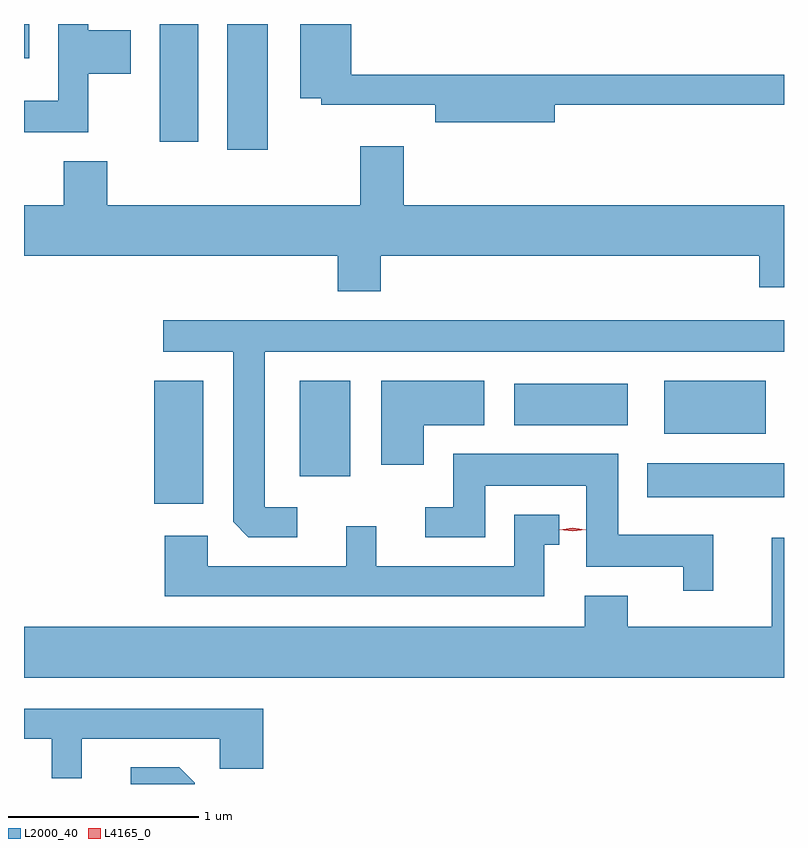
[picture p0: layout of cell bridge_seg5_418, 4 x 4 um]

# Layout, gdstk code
import gdstk
lib = gdstk.Library(unit=1e-6, precision=1e-09)
def R(c, l, rs):  # rectangles x0, y0, x1, y1
    for r in rs: c.add(gdstk.rectangle(r[:2], r[2:], *l))
def P(c, l, *ps):  # polygons
    for p in ps: c.add(gdstk.Polygon(p, *l))
L2000_40 = (2000, 40)
L4165_0 = (4165, 0)

bridge_seg5_418 = lib.new_cell('bridge_seg5_418')
R(bridge_seg5_418, L2000_40, [(371.036,1506.551,371.294,1507.199), (373.631,1506.586,374.351,1506.764), (371.801,1506.696,372.069,1507.199), (373.721,1506.921,374.254,1507.199), (372.931,1506.966,373.529,1507.184), (371.421,1508.416,371.634,1509.077), (371.066,1508.456,371.269,1509.077), (370.351,1508.896,370.379,1509.077)])
P(bridge_seg5_418, L2000_40, [(373.144,1508.651),(374.351,1508.651),(374.351,1508.809),(372.074,1508.809),(372.074,1509.077),(371.806,1509.077),(371.806,1508.686),(371.916,1508.686),(371.916,1508.651),(372.516,1508.651),(372.516,1508.561),(373.144,1508.561)],
  [(370.689,1508.816),(370.914,1508.816),(370.914,1509.044),(370.689,1509.044),(370.689,1509.077),(370.531,1509.077),(370.531,1508.674),(370.351,1508.674),(370.351,1508.506),(370.689,1508.506)],
  [(372.229,1507.856),(374.221,1507.856),(374.221,1507.691),(374.351,1507.691),(374.351,1508.124),(372.349,1508.124),(372.349,1508.434),(372.121,1508.434),(372.121,1508.124),(370.789,1508.124),(370.789,1508.354),(370.561,1508.354),(370.561,1508.124),(370.351,1508.124),(370.351,1507.856),(372.001,1507.856),(372.001,1507.671),(372.229,1507.671)],
  [(371.788,1506.534),(371.619,1506.534),(371.619,1507.351),(374.351,1507.351),(374.351,1507.519),(371.083,1507.519),(371.083,1507.351),(371.451,1507.351),(371.451,1506.457),(371.532,1506.376),(371.788,1506.376)],
  [(372.454,1506.966),(372.774,1506.966),(372.774,1507.199),(372.231,1507.199),(372.231,1506.756),(372.454,1506.756)],
  [(373.979,1506.389),(373.479,1506.389),(373.479,1506.814),(372.611,1506.814),(372.611,1506.534),(372.463,1506.534),(372.463,1506.376),(372.779,1506.376),(372.779,1506.646),(373.311,1506.646),(373.311,1506.221),(373.821,1506.221),(373.821,1506.093),(373.979,1506.093)],
  [(373.089,1506.336),(373.168,1506.336),(373.168,1506.494),(372.931,1506.494),(372.931,1506.224),(372.204,1506.224),(372.204,1506.433),(372.046,1506.433),(372.046,1506.224),(371.319,1506.224),(371.319,1506.384),(371.091,1506.384),(371.091,1506.066),(373.089,1506.066)],
  [(374.351,1506.373),(374.286,1506.373),(374.286,1505.904),(373.529,1505.904),(373.529,1506.069),(373.301,1506.069),(373.301,1505.904),(370.351,1505.904),(370.351,1505.636),(374.351,1505.636)],
  [(370.654,1505.316),(371.381,1505.316),(371.381,1505.156),(371.609,1505.156),(371.609,1505.474),(370.351,1505.474),(370.351,1505.316),(370.496,1505.316),(370.496,1505.108),(370.654,1505.108)],
  [(371.249,1505.084),(371.169,1505.164),(370.913,1505.164),(370.913,1505.077),(371.249,1505.077)])
P(bridge_seg5_418, L4165_0, [(373.238,1506.406),(373.169,1506.414),(373.169,1506.415),(373.169,1506.416),(373.238,1506.425),(373.308,1506.416),(373.308,1506.416),(373.308,1506.415)])

lib.write_gds('bridge_seg5_418.gds')
